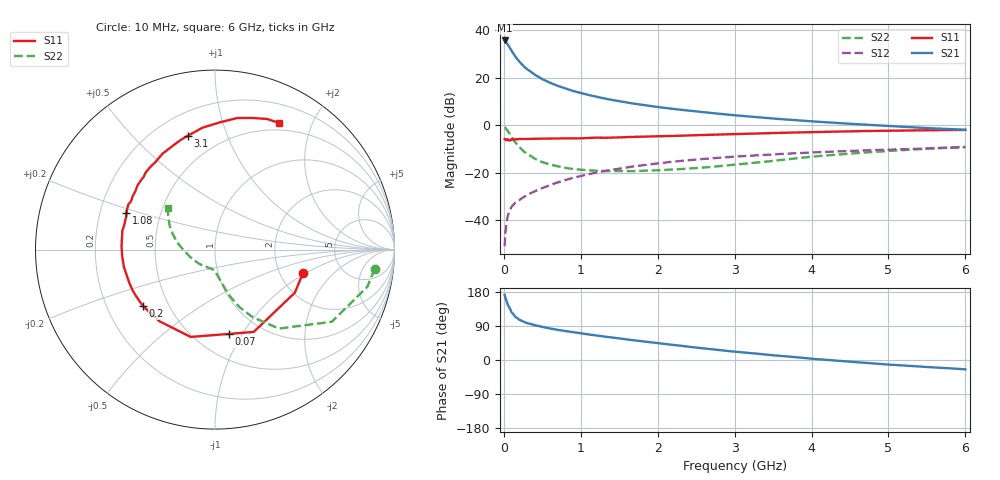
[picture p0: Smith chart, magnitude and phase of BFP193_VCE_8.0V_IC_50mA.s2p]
! Infineon Technologies  Discrete & RF Semiconductors
! BFP193
! VCE = 8.0 V,  IC =  50 mA
! Common Emitter S-Parameters:  Jan 2016
# GHz  S  MA  R  50
!  f  S11  S21  S12  S22
! GHz  MAG  ANG  MAG  ANG  MAG  ANG  MAG  ANG
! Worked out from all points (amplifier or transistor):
!   210 points, 10 MHz to 6 GHz, reference 50 ohm
!   highest |S21| = 35.7 dB at 10 MHz (marker M1)
!   |S21| within 3 dB of that: start of sweep to 74.55 MHz
!   unconditionally stable (mu >= 1): 589.7 MHz to 4.13 GHz
!   at 185 MHz: K = 0.65, MSG = 29.7 dB, |S12| = -31.9 dB
!   at 1.52 GHz: K = 1.07, MAG = 12.5 dB, |S12| = -18.2 dB
!   at 6 GHz: K = 0.95, MSG = 3.7 dB, |S12| = -9.4 dB
!   S11 on the Smith chart (normalised r, x): 10 MHz: 2.70, -0.93; 70 MHz: 0.72, -0.87; 200 MHz: 0.36, -0.30; 1.08 GHz: 0.31, +0.18; 3.1 GHz: 0.33, +0.74; 6 GHz: 0.41, +1.55
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0.01  0.5082 -14.6  61.02 172.1  0.0028 82.9  0.8957 -7.0
0.02  0.5054 -28.4  58.22 164.0  0.0052 76.4  0.8738 -13.7
0.05  0.5068 -64.8  50.46 145.8  0.0121 67.0  0.7651 -31.7
0.07  0.4757 -80.9  44.47 139.3  0.0148 61.9  0.6769 -38.0
0.1  0.5052 -105.6  36.98 125.8  0.0189 57.0  0.5661 -51.0
0.15  0.5053 -128.0  27.73 113.8  0.0234 54.4  0.4306 -60.9
0.2  0.5101 -142.0  21.98 106.4  0.0262 54.5  0.3465 -67.1
0.24  0.5108 -150.1  18.73 102.3  0.0291 55.5  0.2983 -70.2
0.3  0.5121 -158.8  15.17 97.4  0.0333 57.8  0.2495 -74.1
0.4  0.5168 -169.3  11.61 91.8  0.0402 60.0  0.1972 -77.9
0.5  0.5184 -176.0  9.318 87.2  0.047 61.9  0.166 -80.9
0.6  0.5211 178.0  7.816 83.1  0.0542 62.2  0.1474 -83.7
0.7  0.5219 172.4  6.734 79.4  0.0619 63.1  0.1348 -86.1
0.8  0.527 168.8  5.897 76.3  0.0693 62.5  0.1254 -88.7
1.02  0.5291 159.3  4.662 69.8  0.0859 61.8  0.1138 -93.8
1.08  0.5348 157.3  4.411 68.1  0.0906 61.5  0.112 -95.8
1.4  0.5471 146.9  3.403 59.6  0.1137 58.4  0.1079 -105.0
2.02  0.5838 128.7  2.388 44.2  0.1573 51.1  0.1119 -127.4
3.1  0.6526 103.3  1.563 20.2  0.2213 37.3  0.1512 -168.0
4.1  0.7169 85.9  1.173 1.9  0.2693 25.4  0.2228 166.8
5.1  0.7664 72.8  0.941 -13.3  0.3077 14.5  0.2922 150.5
6  0.7907 63.0  0.799 -24.6  0.34 5.1  0.3502 138.8
